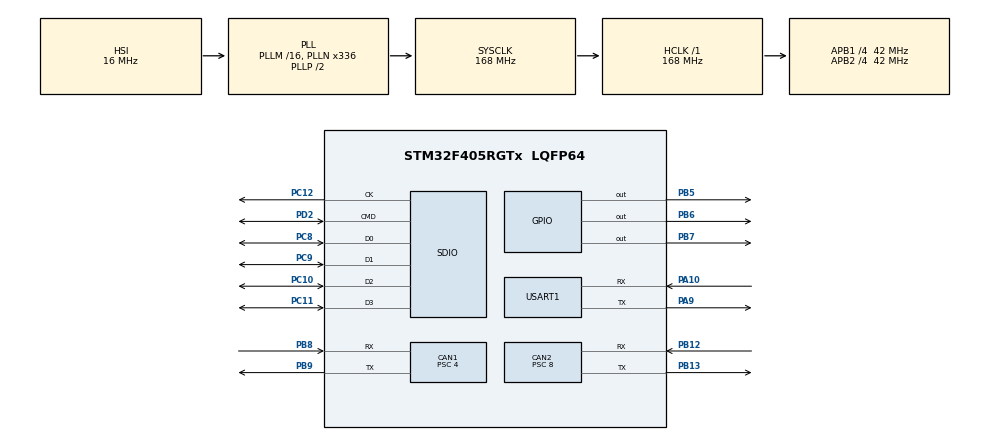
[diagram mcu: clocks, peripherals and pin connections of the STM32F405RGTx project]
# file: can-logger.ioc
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CAN1.BS1=CAN_BS1_16TQ
CAN1.BS2=CAN_BS2_4TQ
CAN1.CalculateBaudRate=500000
CAN1.CalculateTimeBit=2000
CAN1.CalculateTimeQuantum=95.23809523809524
CAN1.Mode=CAN_MODE_SILENT
CAN1.Prescaler=4
CAN2.BS1=CAN_BS1_16TQ
CAN2.BS2=CAN_BS2_4TQ
CAN2.CalculateBaudRate=250000
CAN2.CalculateTimeBit=4000
CAN2.CalculateTimeQuantum=190.47619047619048
CAN2.Mode=CAN_MODE_SILENT
CAN2.Prescaler=8
Dma.Request0=SDIO_RX
Dma.Request1=SDIO_TX
Dma.Request2=USART1_TX
Dma.SDIO_RX.0.Direction=DMA_PERIPH_TO_MEMORY
Dma.SDIO_RX.0.FIFOMode=DMA_FIFOMODE_ENABLE
Dma.SDIO_RX.0.FIFOThreshold=DMA_FIFO_THRESHOLD_FULL
Dma.SDIO_RX.0.Instance=DMA2_Stream3
Dma.SDIO_RX.0.MemBurst=DMA_MBURST_INC4
Dma.SDIO_RX.0.MemDataAlignment=DMA_MDATAALIGN_WORD
Dma.SDIO_RX.0.MemInc=DMA_MINC_ENABLE
Dma.SDIO_RX.0.Mode=DMA_PFCTRL
Dma.SDIO_RX.0.PeriphBurst=DMA_PBURST_INC4
Dma.SDIO_RX.0.PeriphDataAlignment=DMA_PDATAALIGN_WORD
Dma.SDIO_RX.0.PeriphInc=DMA_PINC_DISABLE
Dma.SDIO_RX.0.Priority=DMA_PRIORITY_LOW
Dma.SDIO_TX.1.Direction=DMA_MEMORY_TO_PERIPH
Dma.SDIO_TX.1.FIFOMode=DMA_FIFOMODE_ENABLE
Dma.SDIO_TX.1.FIFOThreshold=DMA_FIFO_THRESHOLD_FULL
Dma.SDIO_TX.1.Instance=DMA2_Stream6
Dma.SDIO_TX.1.MemBurst=DMA_MBURST_INC4
Dma.SDIO_TX.1.MemDataAlignment=DMA_MDATAALIGN_WORD
Dma.SDIO_TX.1.MemInc=DMA_MINC_ENABLE
Dma.SDIO_TX.1.Mode=DMA_PFCTRL
Dma.SDIO_TX.1.PeriphBurst=DMA_PBURST_INC4
Dma.SDIO_TX.1.PeriphDataAlignment=DMA_PDATAALIGN_WORD
Dma.SDIO_TX.1.PeriphInc=DMA_PINC_DISABLE
Dma.SDIO_TX.1.Priority=DMA_PRIORITY_LOW
Dma.USART1_TX.2.Direction=DMA_MEMORY_TO_PERIPH
Dma.USART1_TX.2.FIFOMode=DMA_FIFOMODE_DISABLE
Dma.USART1_TX.2.Instance=DMA2_Stream7
Dma.USART1_TX.2.MemDataAlignment=DMA_MDATAALIGN_BYTE
Dma.USART1_TX.2.MemInc=DMA_MINC_ENABLE
Dma.USART1_TX.2.Mode=DMA_NORMAL
Dma.USART1_TX.2.PeriphDataAlignment=DMA_PDATAALIGN_BYTE
Dma.USART1_TX.2.PeriphInc=DMA_PINC_DISABLE
Dma.USART1_TX.2.Priority=DMA_PRIORITY_LOW
FREERTOS.Tasks01=DefaultTask,49,128,can_listen,Default,NULL,Dynamic,NULL,NULL
FREERTOS.configUSE_NEWLIB_REENTRANT=1
Mcu.Family=STM32F4
Mcu.Name=STM32F405RGTx
Mcu.Package=LQFP64
NVIC.DMA2_Stream3_IRQn=true\:5\:0\:false\:false\:true\:true\:false\:true\:true
NVIC.DMA2_Stream6_IRQn=true\:5\:0\:false\:false\:true\:true\:false\:true\:true
NVIC.DMA2_Stream7_IRQn=true\:5\:0\:false\:false\:true\:true\:false\:true\:true
NVIC.PriorityGroup=NVIC_PRIORITYGROUP_4
NVIC.SDIO_IRQn=true\:5\:0\:false\:false\:true\:true\:true\:true\:true
NVIC.TIM6_DAC_IRQn=true\:15\:0\:false\:false\:true\:false\:false\:true\:true
NVIC.TimeBase=TIM6_DAC_IRQn
NVIC.TimeBaseIP=TIM6
NVIC.USART1_IRQn=true\:5\:0\:false\:false\:true\:true\:true\:true\:true
PA10.Mode=Asynchronous
PA10.Signal=USART1_RX
PA13.Mode=Serial_Wire
PA13.Signal=SYS_JTMS-SWDIO
PA14.Mode=Serial_Wire
PA14.Signal=SYS_JTCK-SWCLK
PA9.Mode=Asynchronous
PA9.Signal=USART1_TX
PB12.Mode=CAN_Activate
PB12.Signal=CAN2_RX
PB13.Mode=CAN_Activate
PB13.Signal=CAN2_TX
PB5.Signal=GPIO_Output
PB6.Signal=GPIO_Output
PB7.Signal=GPIO_Output
PB8.Mode=CAN_Activate
PB8.Signal=CAN1_RX
PB9.Mode=CAN_Activate
PB9.Signal=CAN1_TX
PC10.Mode=SD_4_bits_Wide_bus
PC10.Signal=SDIO_D2
PC11.Mode=SD_4_bits_Wide_bus
PC11.Signal=SDIO_D3
PC12.Mode=SD_4_bits_Wide_bus
PC12.Signal=SDIO_CK
PC8.Mode=SD_4_bits_Wide_bus
PC8.Signal=SDIO_D0
PC9.Mode=SD_4_bits_Wide_bus
PC9.Signal=SDIO_D1
PD2.Mode=SD_4_bits_Wide_bus
PD2.Signal=SDIO_CMD
ProjectManager.HeapSize=0x200
ProjectManager.StackSize=0x400
ProjectManager.TargetToolchain=STM32CubeIDE
RCC.48MHZClocksFreq_Value=48000000
RCC.AHBFreq_Value=168000000
RCC.APB1CLKDivider=RCC_HCLK_DIV4
RCC.APB1Freq_Value=42000000
RCC.APB1TimFreq_Value=84000000
RCC.APB2CLKDivider=RCC_HCLK_DIV4
RCC.APB2Freq_Value=42000000
RCC.APB2TimFreq_Value=84000000
RCC.CortexFreq_Value=168000000
RCC.HCLKFreq_Value=168000000
RCC.HSE_VALUE=25000000
RCC.HSI_VALUE=16000000
RCC.LSE_VALUE=32768
RCC.PLLN=336
RCC.PLLQ=7
RCC.SYSCLKFreq_VALUE=168000000
RCC.SYSCLKSource=RCC_SYSCLKSOURCE_PLLCLK
RCC.VCOOutputFreq_Value=336000000
USART1.VirtualMode=VM_ASYNC
VP_FREERTOS_VS_CMSIS_V2.Mode=CMSIS_V2
VP_SYS_VS_tim6.Mode=TIM6
board=custom

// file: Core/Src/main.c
/* USER CODE BEGIN Header */
/**
  ******************************************************************************
  * @file           : main.c
  * @brief          : Main program body
  ******************************************************************************
  * @attention
  * Copyright (c) 2026 STMicroelectronics.
  * Copyright (c) 2026 Erick Ahmed.
  *
  * SPDX-License-Identifier: GPL-3.0-or-later
  *
  ******************************************************************************
  */
/* USER CODE END Header */
#include "main.h"
#include "cmsis_os.h"

/* USER CODE BEGIN Includes */
#include "canlog.h"
#include "cansend.h"
/* USER CODE END Includes */

CAN_HandleTypeDef hcan1;
CAN_HandleTypeDef hcan2;

SD_HandleTypeDef hsd;
DMA_HandleTypeDef hdma_sdio_rx;
DMA_HandleTypeDef hdma_sdio_tx;

UART_HandleTypeDef huart1;
DMA_HandleTypeDef hdma_usart1_tx;

/* USER CODE BEGIN PV */
LED_Config led_can1 = {GPIOB, GPIO_PIN_5};
LED_Config led_can2 = {GPIOB, GPIO_PIN_6};
LED_Config led_error = {GPIOB, GPIO_PIN_7};

osThreadId_t xCAN1rxTask;
osThreadId_t xCAN2rxTask;
osThreadId_t xCAN1LedTask;
osThreadId_t xCAN2LedTask;

osMessageQueueId_t xCAN1RxQueue;
osMessageQueueId_t xCAN2RxQueue;
osMessageQueueId_t xUARTQueue;

osSemaphoreId_t xUARTDMASemaphore;
osThreadId_t xUartTask;

/* USER CODE END PV */

void SystemClock_Config(void);
static void MX_GPIO_Init(void);
static void MX_DMA_Init(void);
static void MX_CAN1_Init(void);
static void MX_CAN2_Init(void);
static void MX_SDIO_SD_Init(void);
static void MX_USART1_UART_Init(void);

void uart_printf(const char *fmt, ...);

/* USER CODE BEGIN PFP */
int _write(int file, char *ptr, int len)
{
  for (int i = 0; i < len; i++) ITM_SendChar((*ptr++));
  return len;
}
/* USER CODE END PFP */

int main(void)
{
  /* USER CODE BEGIN 1 */
  if (CoreDebug->DHCSR & CoreDebug_DHCSR_C_DEBUGEN_Msk)
  {
    CoreDebug->DEMCR |= CoreDebug_DEMCR_TRCENA_Msk;
    ITM->LAR = 0xC5ACCE55;
    ITM->TER = 1 << 0;
    ITM->TCR = ITM_TCR_ITMENA_Msk | ITM_TCR_SYNCENA_Msk | ITM_TCR_SWOENA_Msk;
  }

  DEBUG_PRINT("[L] Booting system\r\n");
  /* USER CODE END 1 */

  /* MCU Configuration--------------------------------------------------------*/

  /* Reset of all peripherals, Initializes the Flash interface and the Systick. */
  HAL_Init();

  /* USER CODE BEGIN Init */
  DEBUG_PRINT("[L] Configuring system clock\r\n");

  /* USER CODE END Init */

  /* Configure the system clock */
  SystemClock_Config();

  /* USER CODE BEGIN SysInit */
  DEBUG_PRINT("[L] Initializing configured peripherals...\r\n");
  /* USER CODE END SysInit */

  /* Initialize all configured peripherals */
  MX_DMA_Init();
  MX_GPIO_Init();
  MX_USART1_UART_Init();
  MX_CAN1_Init();
  MX_CAN2_Init();
  MX_SDIO_SD_Init();
  /* USER CODE BEGIN 2 */
  DEBUG_PRINT("[L] Initializing CAN bus logger\r\n");
  CAN_Logger_Init(&hcan1, &hcan2);
  /* USER CODE END 2 */

  /* Init scheduler */
  osKernelInitialize();

  DEBUG_PRINT("[L] Creating RTOS entities\r\n");

  /* USER CODE BEGIN RTOS_TASKS */
  const osThreadAttr_t CAN1rxAttributes = {
    .name = "CAN1rx",
    .stack_size = 512 * 4,
    .priority = (osPriority_t) osPriorityRealtime1,
  };
  const osThreadAttr_t CAN2rxAttributes = {
    .name = "CAN2rx",
    .stack_size = 512 * 4,
    .priority = (osPriority_t) osPriorityRealtime,
  };
  const osThreadAttr_t UartLoggerAttributes = {
    .name = "UART_Logger",
    .stack_size = 256 * 4,
    .priority = (osPriority_t) osPriorityHigh,
  };
  const osThreadAttr_t LEDHeartbeatCAN1Attributes = {
    .name = "LED_HB_CAN1",
    .stack_size = 128 * 4,
    .priority = (osPriority_t) osPriorityLow1,
  };
  const osThreadAttr_t LEDHeartbeatCAN2Attributes = {
    .name = "LED_HB_CAN2",
    .stack_size = 128 * 4,
    .priority = (osPriority_t) osPriorityLow,
  };
  /* USER CODE END RTOS_TASKS */

  /* USER CODE BEGIN RTOS_SEMAPHORES */
  xUARTDMASemaphore = osSemaphoreNew(1, 1, NULL);
  if (xUARTDMASemaphore == NULL) Error_Handler();
  /* USER CODE END RTOS_SEMAPHORES */

  /* USER CODE BEGIN RTOS_QUEUES */
  xCAN1RxQueue = osMessageQueueNew(2048, sizeof(CanMessage_t), NULL);
  xCAN2RxQueue = osMessageQueueNew(2048, sizeof(CanMessage_t), NULL);
  xUARTQueue = osMessageQueueNew(4096, sizeof(CanMessage_t), NULL);

  if (xCAN1RxQueue == NULL || xCAN2RxQueue == NULL || xUARTQueue == NULL) Error_Handler();
  /* USER CODE END RTOS_QUEUES */

  /* USER CODE BEGIN RTOS_THREADS */
  xCAN1rxTask = osThreadNew(vCANListener, &hcan1, &CAN1rxAttributes);
  xCAN2rxTask = osThreadNew(vCANListener, &hcan2, &CAN2rxAttributes);
  xUartTask = osThreadNew(vUARTLogger, NULL, &UartLoggerAttributes);
  xCAN1LedTask = osThreadNew(vLEDHeartbeat, &led_can1, &LEDHeartbeatCAN1Attributes);
  xCAN2LedTask = osThreadNew(vLEDHeartbeat, &led_can2, &LEDHeartbeatCAN2Attributes);

  if (xCAN1rxTask == NULL || xCAN2rxTask == NULL || xUartTask == NULL ||
      xCAN1LedTask == NULL || xCAN2LedTask == NULL) Error_Handler();
  /* USER CODE END RTOS_THREADS */

  /* Start scheduler */
  DEBUG_PRINT("[L] Starting RTOS init scheduler\r\n");
  osKernelStart();

  /* We should never get here as control is now taken by the scheduler */

  /* Infinite loop */
  while (1)
  {

    /* USER CODE BEGIN 3 */
    DEBUG_PRINT("[E] RTOS scheduler crashed!\r\n");
    /* USER CODE END 3 */
  }
}

void SystemClock_Config(void)
{
  RCC_OscInitTypeDef RCC_OscInitStruct = {0};
  RCC_ClkInitTypeDef RCC_ClkInitStruct = {0};

  /** Configure the main internal regulator output voltage
  */
  __HAL_RCC_PWR_CLK_ENABLE();
  __HAL_PWR_VOLTAGESCALING_CONFIG(PWR_REGULATOR_VOLTAGE_SCALE1);

  /** Initializes the RCC Oscillators according to the specified parameters
  * in the RCC_OscInitTypeDef structure.
  */
  RCC_OscInitStruct.OscillatorType = RCC_OSCILLATORTYPE_HSI;
  RCC_OscInitStruct.HSIState = RCC_HSI_ON;
  RCC_OscInitStruct.HSICalibrationValue = RCC_HSICALIBRATION_DEFAULT;
  RCC_OscInitStruct.PLL.PLLState = RCC_PLL_ON;
  RCC_OscInitStruct.PLL.PLLSource = RCC_PLLSOURCE_HSI;
  RCC_OscInitStruct.PLL.PLLM = 16;
  RCC_OscInitStruct.PLL.PLLN = 336;
  RCC_OscInitStruct.PLL.PLLP = RCC_PLLP_DIV2;
  RCC_OscInitStruct.PLL.PLLQ = 7;
  if (HAL_RCC_OscConfig(&RCC_OscInitStruct) != HAL_OK)
  {
    Error_Handler();
  }

  /** Initializes the CPU, AHB and APB buses clocks
  */
  RCC_ClkInitStruct.ClockType = RCC_CLOCKTYPE_HCLK|RCC_CLOCKTYPE_SYSCLK
                              |RCC_CLOCKTYPE_PCLK1|RCC_CLOCKTYPE_PCLK2;
  RCC_ClkInitStruct.SYSCLKSource = RCC_SYSCLKSOURCE_PLLCLK;
  RCC_ClkInitStruct.AHBCLKDivider = RCC_SYSCLK_DIV1;
  RCC_ClkInitStruct.APB1CLKDivider = RCC_HCLK_DIV4;
  RCC_ClkInitStruct.APB2CLKDivider = RCC_HCLK_DIV4;

  if (HAL_RCC_ClockConfig(&RCC_ClkInitStruct, FLASH_LATENCY_5) != HAL_OK)
  {
    Error_Handler();
  }
}

static void MX_CAN1_Init(void)
{

  hcan1.Instance = CAN1;
  hcan1.Init.Prescaler = 4;
  hcan1.Init.Mode = CAN_MODE_NORMAL;
  hcan1.Init.SyncJumpWidth = CAN_SJW_1TQ;
  hcan1.Init.TimeSeg1 = CAN_BS1_16TQ;
  hcan1.Init.TimeSeg2 = CAN_BS2_4TQ;
  hcan1.Init.TimeTriggeredMode = DISABLE;
  hcan1.Init.AutoBusOff = DISABLE;
  hcan1.Init.AutoWakeUp = ENABLE;
  hcan1.Init.AutoRetransmission = DISABLE;
  hcan1.Init.ReceiveFifoLocked = DISABLE;
  hcan1.Init.TransmitFifoPriority = DISABLE;
  if (HAL_CAN_Init(&hcan1) != HAL_OK)
  {
    Error_Handler();
  }
  /* USER CODE BEGIN CAN1_Init 2 */
  DEBUG_PRINT("[L] CAN1 initialized\r\n");
  /* USER CODE END CAN1_Init 2 */

}

static void MX_CAN2_Init(void)
{

  hcan2.Instance = CAN2;
  hcan2.Init.Prescaler = 8;
  hcan2.Init.Mode = CAN_MODE_NORMAL;
  hcan2.Init.SyncJumpWidth = CAN_SJW_1TQ;
  hcan2.Init.TimeSeg1 = CAN_BS1_16TQ;
  hcan2.Init.TimeSeg2 = CAN_BS2_4TQ;
  hcan2.Init.TimeTriggeredMode = DISABLE;
  hcan2.Init.AutoBusOff = DISABLE;
  hcan2.Init.AutoWakeUp = ENABLE;
  hcan2.Init.AutoRetransmission = DISABLE;
  hcan2.Init.ReceiveFifoLocked = DISABLE;
  hcan2.Init.TransmitFifoPriority = DISABLE;
  if (HAL_CAN_Init(&hcan2) != HAL_OK)
  {
    Error_Handler();
  }
  /* USER CODE BEGIN CAN2_Init 2 */
  DEBUG_PRINT("[L] CAN2 initialized\r\n");
  /* USER CODE END CAN2_Init 2 */

}

static void MX_SDIO_SD_Init(void)
{

  hsd.Instance = SDIO;
  hsd.Init.ClockEdge = SDIO_CLOCK_EDGE_RISING;
  hsd.Init.ClockBypass = SDIO_CLOCK_BYPASS_DISABLE;
  hsd.Init.ClockPowerSave = SDIO_CLOCK_POWER_SAVE_DISABLE;
  hsd.Init.BusWide = SDIO_BUS_WIDE_1B;
  hsd.Init.HardwareFlowControl = SDIO_HARDWARE_FLOW_CONTROL_DISABLE;
  hsd.Init.ClockDiv = 0;
  //if (HAL_SD_Init(&hsd) != HAL_OK)
  //{
  //  Error_Handler();
  //}
  //if (HAL_SD_ConfigWideBusOperation(&hsd, SDIO_BUS_WIDE_4B) != HAL_OK)
  //{
  //  Error_Handler();
  //}
  /* USER CODE BEGIN SDIO_Init 2 */
  //DEBUG_PRINT("[L] SDIO initialized\r\n");
  /* USER CODE END SDIO_Init 2 */

}

static void MX_USART1_UART_Init(void)
{

  huart1.Instance = USART1;
  huart1.Init.BaudRate = 1000000;
  huart1.Init.WordLength = UART_WORDLENGTH_8B;
  huart1.Init.StopBits = UART_STOPBITS_1;
  huart1.Init.Parity = UART_PARITY_NONE;
  huart1.Init.Mode = UART_MODE_TX;
  huart1.Init.HwFlowCtl = UART_HWCONTROL_NONE;
  huart1.Init.OverSampling = UART_OVERSAMPLING_16;
  if (HAL_UART_Init(&huart1) != HAL_OK)
  {
    Error_Handler();
  }
  /* USER CODE BEGIN USART1_Init 2 */
  DEBUG_PRINT("[L] USART1 initialized\r\n");
  /* USER CODE END USART1_Init 2 */

}

static void MX_DMA_Init(void)
{

  /* DMA controller clock enable */
  __HAL_RCC_DMA2_CLK_ENABLE();

  /* DMA interrupt init */
  /* DMA2_Stream3_IRQn interrupt configuration */
  HAL_NVIC_SetPriority(DMA2_Stream3_IRQn, 5, 0);
  HAL_NVIC_EnableIRQ(DMA2_Stream3_IRQn);
  /* DMA2_Stream6_IRQn interrupt configuration */
  HAL_NVIC_SetPriority(DMA2_Stream6_IRQn, 5, 0);
  HAL_NVIC_EnableIRQ(DMA2_Stream6_IRQn);
  /* DMA2_Stream7_IRQn interrupt configuration */
  HAL_NVIC_SetPriority(DMA2_Stream7_IRQn, 5, 0);
  HAL_NVIC_EnableIRQ(DMA2_Stream7_IRQn);

  /* USER CODE BEGIN MX_DMA_Init 1 */
  DEBUG_PRINT("[L] DMA initialized\r\n");
  /* USER CODE END MX_DMA_Init 1 */
}

static void MX_GPIO_Init(void)
{
  GPIO_InitTypeDef GPIO_InitStruct = {0};

  /* GPIO Ports Clock Enable */
  __HAL_RCC_GPIOC_CLK_ENABLE();
  __HAL_RCC_GPIOH_CLK_ENABLE();
  __HAL_RCC_GPIOA_CLK_ENABLE();
  __HAL_RCC_GPIOB_CLK_ENABLE();
  __HAL_RCC_GPIOD_CLK_ENABLE();

  /*Configure GPIO pin Output Level */
  HAL_GPIO_WritePin(GPIOB, GPIO_PIN_5|GPIO_PIN_6|GPIO_PIN_7, GPIO_PIN_RESET);

  /*Configure GPIO pins : PC13 PC14 PC15 PC0
                           PC1 PC2 PC3 PC4
                           PC5 PC6 PC7 */
  GPIO_InitStruct.Pin = GPIO_PIN_13|GPIO_PIN_14|GPIO_PIN_15|GPIO_PIN_0
                          |GPIO_PIN_1|GPIO_PIN_2|GPIO_PIN_3|GPIO_PIN_4
                          |GPIO_PIN_5|GPIO_PIN_6|GPIO_PIN_7;
  GPIO_InitStruct.Mode = GPIO_MODE_ANALOG;
  GPIO_InitStruct.Pull = GPIO_NOPULL;
  HAL_GPIO_Init(GPIOC, &GPIO_InitStruct);

  /*Configure GPIO pins : PH0 PH1 */
  GPIO_InitStruct.Pin = GPIO_PIN_0|GPIO_PIN_1;
  GPIO_InitStruct.Mode = GPIO_MODE_ANALOG;
  GPIO_InitStruct.Pull = GPIO_NOPULL;
  HAL_GPIO_Init(GPIOH, &GPIO_InitStruct);

  /*Configure GPIO pins : PA0 PA1 PA2 PA3
                           PA4 PA5 PA6 PA7
                           PA8 PA11 PA12 PA15 */
  GPIO_InitStruct.Pin = GPIO_PIN_0|GPIO_PIN_1|GPIO_PIN_2|GPIO_PIN_3
                          |GPIO_PIN_4|GPIO_PIN_5|GPIO_PIN_6|GPIO_PIN_7
                          |GPIO_PIN_8|GPIO_PIN_11|GPIO_PIN_12|GPIO_PIN_15;
  GPIO_InitStruct.Mode = GPIO_MODE_ANALOG;
  GPIO_InitStruct.Pull = GPIO_NOPULL;
  HAL_GPIO_Init(GPIOA, &GPIO_InitStruct);

  /*Configure GPIO pins : PB0 PB1 PB2 PB10
                           PB11 PB14 PB15 PB3
                           PB4 */
  GPIO_InitStruct.Pin = GPIO_PIN_0|GPIO_PIN_1|GPIO_PIN_2|GPIO_PIN_10
                          |GPIO_PIN_11|GPIO_PIN_14|GPIO_PIN_15|GPIO_PIN_3
                          |GPIO_PIN_4;
  GPIO_InitStruct.Mode = GPIO_MODE_ANALOG;
  GPIO_InitStruct.Pull = GPIO_NOPULL;
  HAL_GPIO_Init(GPIOB, &GPIO_InitStruct);

  /*Configure GPIO pins : PB5 PB6 PB7 */
  GPIO_InitStruct.Pin = GPIO_PIN_5|GPIO_PIN_6|GPIO_PIN_7;
  GPIO_InitStruct.Mode = GPIO_MODE_OUTPUT_PP;
  GPIO_InitStruct.Pull = GPIO_NOPULL;
  GPIO_InitStruct.Speed = GPIO_SPEED_FREQ_LOW;
  HAL_GPIO_Init(GPIOB, &GPIO_InitStruct);

  //*Configure CAN1 pins : PB8, PB9 */
  GPIO_InitStruct.Pin = GPIO_PIN_8 | GPIO_PIN_9;
  GPIO_InitStruct.Mode = GPIO_MODE_AF_PP;
  GPIO_InitStruct.Pull = GPIO_NOPULL;
  GPIO_InitStruct.Speed = GPIO_SPEED_FREQ_VERY_HIGH;
  GPIO_InitStruct.Alternate = GPIO_AF9_CAN1;
  HAL_GPIO_Init(GPIOB, &GPIO_InitStruct);

  //*Configure CAN2 pins : PB12, PB13 */
  GPIO_InitStruct.Pin = GPIO_PIN_12 | GPIO_PIN_13;
  GPIO_InitStruct.Mode = GPIO_MODE_AF_PP;
  GPIO_InitStruct.Pull = GPIO_NOPULL;
  GPIO_InitStruct.Speed = GPIO_SPEED_FREQ_VERY_HIGH;
  GPIO_InitStruct.Alternate = GPIO_AF9_CAN2;
  HAL_GPIO_Init(GPIOB, &GPIO_InitStruct);

  /* USER CODE BEGIN MX_GPIO_Init_2 */
  DEBUG_PRINT("[L] GPIO initialized\r\n");
  /* USER CODE END MX_GPIO_Init_2 */
}

void HAL_TIM_PeriodElapsedCallback(TIM_HandleTypeDef *htim)
{
  if (htim->Instance == TIM6)
  {
    HAL_IncTick();
  }
}

void Error_Handler(void)
{
  DEBUG_PRINT("[E] Entering error handler\r\n");

  /* USER CODE BEGIN Error_Handler_Debug */
  /* User can add his own implementation to report the HAL error return state */
  if (HAL_CAN_GetState(&hcan1) != HAL_CAN_STATE_READY)
  {
    DEBUG_PRINT("[E] CAN1 error code: 0x%08lX\r\n", (unsigned long)HAL_CAN_GetError(&hcan1));
  }
  if (HAL_CAN_GetState(&hcan2) != HAL_CAN_STATE_READY)
  {
    DEBUG_PRINT("[E] CAN2 error code: 0x%08lX\r\n", (unsigned long)HAL_CAN_GetError(&hcan2));
  }

  // TODO: write error to SD

  /* Disabling interrupts here (after reporting above) freezes the FreeRTOS
     scheduler for good, since it relies on SysTick/PendSV. */
  __disable_irq();

  HAL_GPIO_WritePin(led_can1.port, led_can1.pin, GPIO_PIN_RESET);
  HAL_GPIO_WritePin(led_can2.port, led_can2.pin, GPIO_PIN_RESET);

  while (1)
  {
      HAL_GPIO_TogglePin(led_error.port, led_error.pin);
      for(volatile uint32_t i = 0; i < 4000000; i++);
  }
  /* USER CODE END Error_Handler_Debug */
}
